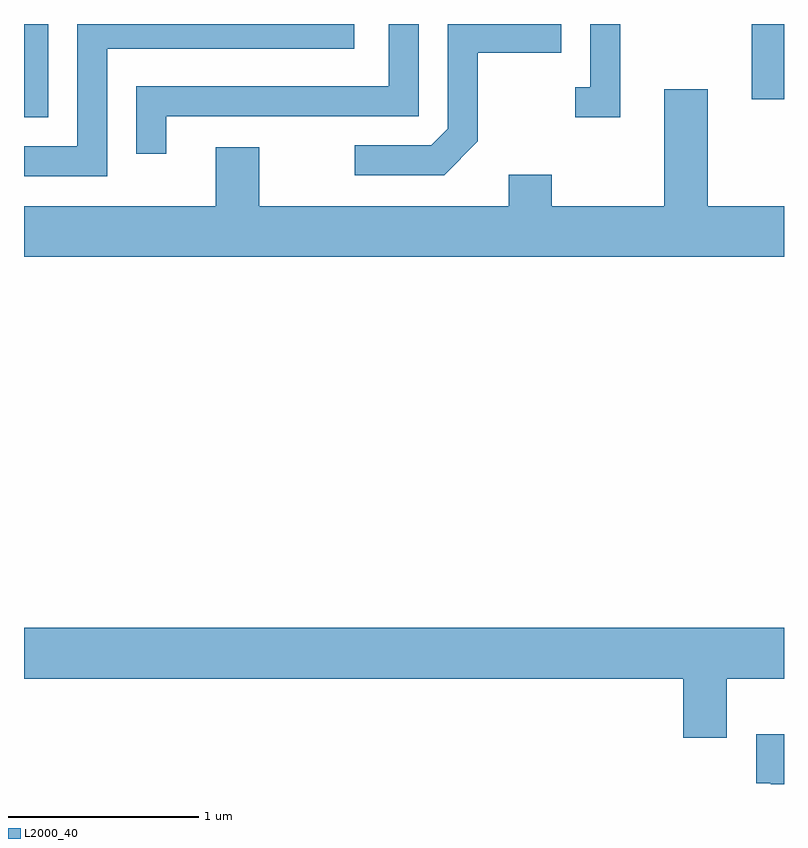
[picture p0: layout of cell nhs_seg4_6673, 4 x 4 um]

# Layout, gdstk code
import gdstk
lib = gdstk.Library(unit=1e-6, precision=1e-09)
def R(c, l, rs):  # rectangles x0, y0, x1, y1
    for r in rs: c.add(gdstk.rectangle(r[:2], r[2:], *l))
def P(c, l, *ps):  # polygons
    for p in ps: c.add(gdstk.Polygon(p, *l))
L2000_40 = (2000, 40)

nhs_seg4_6673 = lib.new_cell('nhs_seg4_6673')
R(nhs_seg4_6673, L2000_40, [(381.611,1275.491,381.739,1275.982), (385.441,1275.586,385.611,1275.982)])
P(nhs_seg4_6673, L2000_40, [(382.049,1275.851),(383.349,1275.851),(383.349,1275.982),(381.891,1275.982),(381.891,1275.339),(381.611,1275.339),(381.611,1275.181),(382.049,1275.181)],
  [(382.359,1275.496),(383.689,1275.496),(383.689,1275.982),(383.531,1275.982),(383.531,1275.654),(382.201,1275.654),(382.201,1275.298),(382.359,1275.298)],
  [(384.749,1275.982),(384.591,1275.982),(384.591,1275.649),(384.513,1275.649),(384.513,1275.491),(384.749,1275.491)],
  [(383.999,1275.364),(383.999,1275.831),(384.439,1275.831),(384.439,1275.982),(383.841,1275.982),(383.841,1275.432),(383.754,1275.344),(383.353,1275.344),(383.353,1275.186),(383.822,1275.186)],
  [(385.611,1275.024),(385.209,1275.024),(385.209,1275.639),(384.981,1275.639),(384.981,1275.024),(384.389,1275.024),(384.389,1275.189),(384.161,1275.189),(384.161,1275.024),(382.849,1275.024),(382.849,1275.334),(382.621,1275.334),(382.621,1275.024),(381.611,1275.024),(381.611,1274.756),(385.611,1274.756)],
  [(385.309,1272.536),(385.611,1272.536),(385.611,1272.804),(381.611,1272.804),(381.611,1272.536),(385.081,1272.536),(385.081,1272.226),(385.309,1272.226)],
  [(385.611,1272.244),(385.466,1272.244),(385.466,1271.986),(385.541,1271.986),(385.541,1271.982),(385.611,1271.982)])

lib.write_gds('nhs_seg4_6673.gds')
